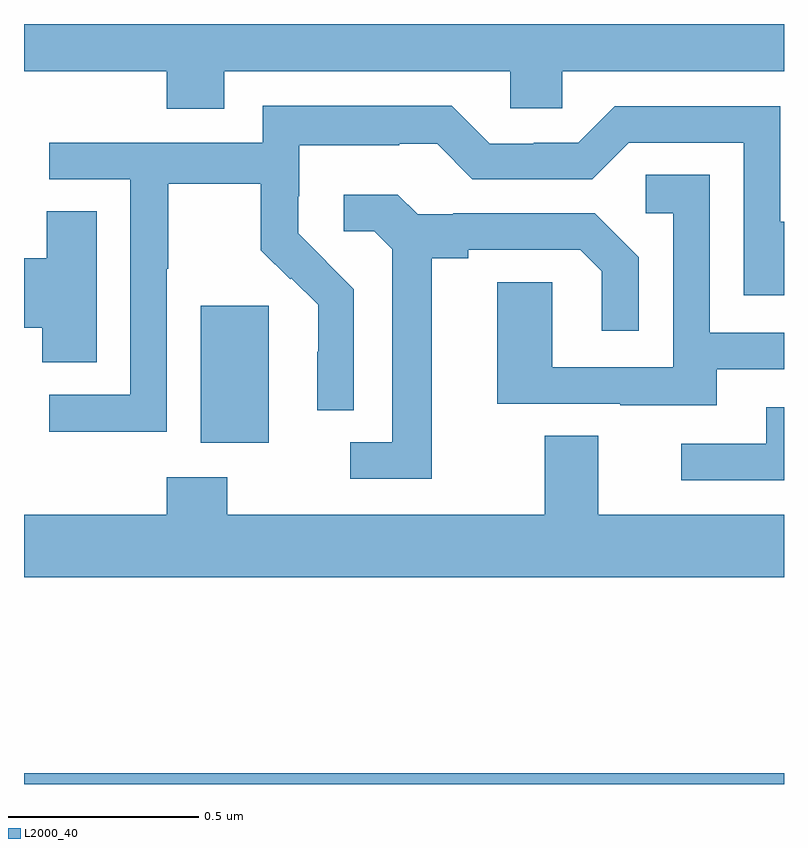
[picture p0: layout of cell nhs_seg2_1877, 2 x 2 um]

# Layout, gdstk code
import gdstk
lib = gdstk.Library(unit=1e-6, precision=1e-09)
def R(c, l, rs):  # rectangles x0, y0, x1, y1
    for r in rs: c.add(gdstk.rectangle(r[:2], r[2:], *l))
def P(c, l, *ps):  # polygons
    for p in ps: c.add(gdstk.Polygon(p, *l))
L2000_40 = (2000, 40)

nhs_seg2_1877 = lib.new_cell('nhs_seg2_1877')
R(nhs_seg2_1877, L2000_40, [(134,605.8,136,605.828), (134.465,606.698,134.644,607.059)])
P(nhs_seg2_1877, L2000_40, [(134.527,607.676),(135.279,607.676),(135.279,607.578),(135.417,607.578),(135.417,607.676),(136,607.676),(136,607.8),(134,607.8),(134,607.676),(134.375,607.676),(134.375,607.577),(134.527,607.577)],
  [(134.376,607.156),(134.379,607.156),(134.379,607.38),(134.623,607.38),(134.623,607.205),(134.7,607.128),(134.703,607.131),(134.774,607.061),(134.774,606.938),(134.772,606.938),(134.772,606.784),(134.868,606.784),(134.868,607.102),(134.795,607.175),(134.796,607.176),(134.722,607.25),(134.722,607.347),(134.724,607.347),(134.724,607.481),(134.987,607.481),(134.987,607.485),(135.087,607.485),(135.18,607.392),(135.495,607.392),(135.591,607.488),(135.894,607.488),(135.894,607.086),(136,607.086),(136,607.279),(135.99,607.279),(135.99,607.584),(135.555,607.584),(135.459,607.488),(135.341,607.488),(135.341,607.485),(135.225,607.485),(135.125,607.585),(134.628,607.585),(134.628,607.488),(134.067,607.488),(134.067,607.392),(134.28,607.392),(134.28,606.825),(134.067,606.825),(134.067,606.727),(134.376,606.727)],
  [(135.823,606.891),(136,606.891),(136,606.987),(135.804,606.987),(135.804,607.403),(135.636,607.403),(135.636,607.302),(135.708,607.302),(135.708,606.897),(135.39,606.897),(135.39,607.121),(135.245,607.121),(135.245,606.801),(135.569,606.801),(135.569,606.797),(135.823,606.797)],
  [(135.073,607.184),(135.169,607.184),(135.169,607.206),(135.464,607.206),(135.521,607.149),(135.521,606.993),(135.618,606.993),(135.618,607.186),(135.502,607.302),(135.13,607.302),(135.13,607.299),(135.036,607.299),(134.984,607.351),(134.841,607.351),(134.841,607.254),(134.922,607.254),(134.969,607.207),(134.969,606.699),(134.859,606.699),(134.859,606.603),(135.073,606.603)],
  [(134.191,607.307),(134.06,607.307),(134.06,607.184),(134,607.184),(134,607.001),(134.048,607.001),(134.048,606.91),(134.191,606.91)],
  [(136,606.792),(135.953,606.792),(135.953,606.696),(135.729,606.696),(135.729,606.6),(136,606.6)],
  [(136,606.508),(135.511,606.508),(135.511,606.716),(135.371,606.716),(135.371,606.508),(134.535,606.508),(134.535,606.607),(134.375,606.607),(134.375,606.508),(134,606.508),(134,606.344),(136,606.344)])

lib.write_gds('nhs_seg2_1877.gds')
